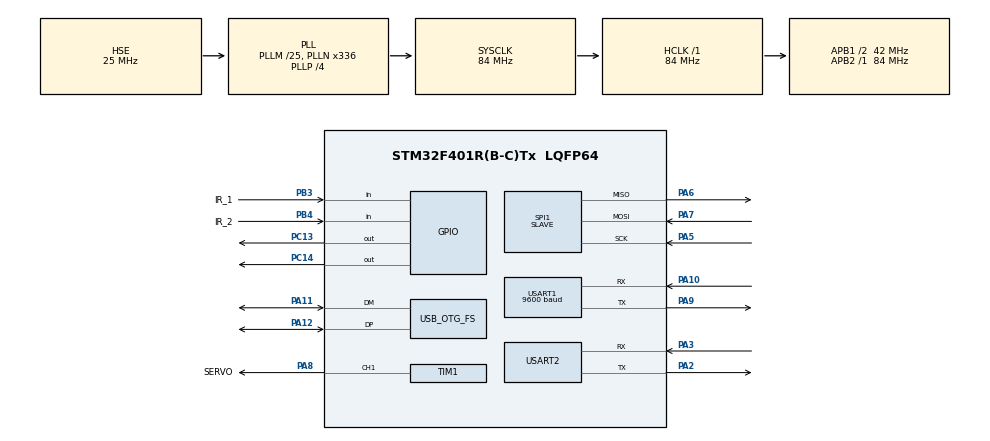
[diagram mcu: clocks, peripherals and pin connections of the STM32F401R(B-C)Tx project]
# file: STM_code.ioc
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FREERTOS.BinarySemaphores01=SPI_DATA_REC,Dynamic,NULL,Available;UART_DATA_TR,Dynamic,NULL,Available;USB_DATA,Dynamic,NULL,Available
FREERTOS.Queues01=SPI_DATA,10,uint8_t,0,Dynamic,NULL,NULL
FREERTOS.Tasks01=defaultTask,24,128,StartDefaultTask,Default,NULL,Dynamic,NULL,NULL;myTask02,9,128,servo_control,Default,NULL,Dynamic,NULL,NULL;myTask03,22,128,handle_transmit,Default,NULL,Dynamic,NULL,NULL;myTask04,11,128,handle_USB_data,Default,NULL,Dynamic,NULL,NULL
FREERTOS.configUSE_NEWLIB_REENTRANT=1
Mcu.Family=STM32F4
Mcu.Name=STM32F401R(B-C)Tx
Mcu.Package=LQFP64
NVIC.OTG_FS_IRQn=true\:5\:0\:false\:false\:true\:true\:false\:true\:true
NVIC.PriorityGroup=NVIC_PRIORITYGROUP_4
NVIC.SPI1_IRQn=true\:5\:0\:false\:false\:true\:true\:true\:true\:true
NVIC.TIM1_CC_IRQn=true\:5\:0\:false\:false\:true\:true\:true\:true\:true
NVIC.TIM2_IRQn=true\:15\:0\:false\:false\:true\:false\:false\:true\:true
NVIC.TimeBase=TIM2_IRQn
NVIC.TimeBaseIP=TIM2
NVIC.USART1_IRQn=true\:5\:0\:false\:false\:true\:true\:true\:true\:true
NVIC.USART2_IRQn=true\:5\:0\:false\:false\:true\:true\:true\:true\:true
PA10.Mode=Asynchronous
PA10.Signal=USART1_RX
PA11.Mode=Device_Only
PA11.Signal=USB_OTG_FS_DM
PA12.Mode=Device_Only
PA12.Signal=USB_OTG_FS_DP
PA2.Mode=Asynchronous
PA2.Signal=USART2_TX
PA3.Mode=Asynchronous
PA3.Signal=USART2_RX
PA5.Mode=Full_Duplex_Slave
PA5.Signal=SPI1_SCK
PA6.Mode=Full_Duplex_Slave
PA6.Signal=SPI1_MISO
PA7.Mode=Full_Duplex_Slave
PA7.Signal=SPI1_MOSI
PA8.GPIO_Label=SERVO
PA8.Signal=S_TIM1_CH1
PA9.Mode=Asynchronous
PA9.Signal=USART1_TX
PB3.GPIO_Label=IR_1
PB3.Signal=GPIO_Input
PB4.GPIO_Label=IR_2
PB4.Signal=GPIO_Input
PC13-ANTI_TAMP.Signal=GPIO_Output
PC14-OSC32_IN.Signal=GPIO_Output
PH0\ -\ OSC_IN.Mode=HSE-External-Oscillator
PH0\ -\ OSC_IN.Signal=RCC_OSC_IN
PH1\ -\ OSC_OUT.Mode=HSE-External-Oscillator
PH1\ -\ OSC_OUT.Signal=RCC_OSC_OUT
ProjectManager.HeapSize=0x200
ProjectManager.StackSize=0x400
ProjectManager.TargetToolchain=STM32CubeIDE
RCC.48MHZClocksFreq_Value=48000000
RCC.AHBFreq_Value=84000000
RCC.APB1CLKDivider=RCC_HCLK_DIV2
RCC.APB1Freq_Value=42000000
RCC.APB1TimFreq_Value=84000000
RCC.APB2Freq_Value=84000000
RCC.APB2TimFreq_Value=84000000
RCC.CortexFreq_Value=84000000
RCC.HCLKFreq_Value=84000000
RCC.HSE_VALUE=25000000
RCC.HSI_VALUE=16000000
RCC.LSE_VALUE=32768
RCC.PLLM=25
RCC.PLLN=336
RCC.PLLP=RCC_PLLP_DIV4
RCC.PLLQ=7
RCC.SYSCLKFreq_VALUE=84000000
RCC.SYSCLKSource=RCC_SYSCLKSOURCE_PLLCLK
RCC.VCOOutputFreq_Value=336000000
SH.S_TIM1_CH1.0=TIM1_CH1,PWM Generation1 CH1
SPI1.Direction=SPI_DIRECTION_2LINES
SPI1.Mode=SPI_MODE_SLAVE
SPI1.VirtualType=VM_SLAVE
TIM1.Channel-PWM\ Generation1\ CH1=TIM_CHANNEL_1
TIM1.Period=2000-1
TIM1.Prescaler=840-1
USART1.BaudRate=9600
USART1.VirtualMode=VM_ASYNC
USART2.VirtualMode=VM_ASYNC
USB_DEVICE.CLASS_NAME_FS=CDC
USB_DEVICE.VirtualMode=Cdc
USB_DEVICE.VirtualModeFS=Cdc_FS
USB_OTG_FS.VirtualMode=Device_Only
VP_FREERTOS_VS_CMSIS_V2.Mode=CMSIS_V2
VP_SYS_VS_tim2.Mode=TIM2
VP_USB_DEVICE_VS_USB_DEVICE_CDC_FS.Mode=CDC_FS
board=custom

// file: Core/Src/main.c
/* USER CODE BEGIN Header */
/**
  ******************************************************************************
  * @file           : main.c
  * @brief          : Main program body
  ******************************************************************************
  * @attention
  *
  * Copyright (c) 2025 STMicroelectronics.
  * All rights reserved.
  *
  * This software is licensed under terms that can be found in the LICENSE file
  * in the root directory of this software component.
  * If no LICENSE file comes with this software, it is provided AS-IS.
  *
  ******************************************************************************
  */
/* USER CODE END Header */
#include "main.h"
#include "cmsis_os.h"
#include "spi.h"
#include "tim.h"
#include "usart.h"
#include "usb_device.h"
#include "gpio.h"

/* USER CODE BEGIN Includes */
//#include "servo_cfg.h"
/* USER CODE END Includes */

/* USER CODE BEGIN PD */
#define SPI_DATA_SIZE   1
#define UART_DATA_SIZE  1
/* USER CODE END PD */

/* USER CODE BEGIN PV */

uint8_t receive_uart2;
uint8_t SPI_receive ;

uint8_t USB_data;

/* USER CODE END PV */

void SystemClock_Config(void);
void MX_FREERTOS_Init(void);

int main(void)
{

  /* MCU Configuration--------------------------------------------------------*/

  /* Reset of all peripherals, Initializes the Flash interface and the Systick. */
  HAL_Init();

  /* Configure the system clock */
  SystemClock_Config();

  /* Initialize all configured peripherals */
  MX_GPIO_Init();
  MX_SPI1_Init();
  MX_TIM1_Init();
  MX_USART1_UART_Init();
  MX_USART2_UART_Init();
  /* USER CODE BEGIN 2 */

  HAL_SPI_Receive_IT(&hspi1, &SPI_receive, SPI_DATA_SIZE);
  HAL_UART_Receive_IT(&huart2,&receive_uart2,UART_DATA_SIZE);

  /* USER CODE END 2 */

  /* Init scheduler */
  osKernelInitialize();

  /* Call init function for freertos objects (in cmsis_os2.c) */
  MX_FREERTOS_Init();

  /* Start scheduler */
  osKernelStart();

  /* We should never get here as control is now taken by the scheduler */

  /* Infinite loop */
  while (1)
  {

  }
}

void SystemClock_Config(void)
{
  RCC_OscInitTypeDef RCC_OscInitStruct = {0};
  RCC_ClkInitTypeDef RCC_ClkInitStruct = {0};

  /** Configure the main internal regulator output voltage
  */
  __HAL_RCC_PWR_CLK_ENABLE();
  __HAL_PWR_VOLTAGESCALING_CONFIG(PWR_REGULATOR_VOLTAGE_SCALE2);

  /** Initializes the RCC Oscillators according to the specified parameters
  * in the RCC_OscInitTypeDef structure.
  */
  RCC_OscInitStruct.OscillatorType = RCC_OSCILLATORTYPE_HSE;
  RCC_OscInitStruct.HSEState = RCC_HSE_ON;
  RCC_OscInitStruct.PLL.PLLState = RCC_PLL_ON;
  RCC_OscInitStruct.PLL.PLLSource = RCC_PLLSOURCE_HSE;
  RCC_OscInitStruct.PLL.PLLM = 25;
  RCC_OscInitStruct.PLL.PLLN = 336;
  RCC_OscInitStruct.PLL.PLLP = RCC_PLLP_DIV4;
  RCC_OscInitStruct.PLL.PLLQ = 7;
  if (HAL_RCC_OscConfig(&RCC_OscInitStruct) != HAL_OK)
  {
    Error_Handler();
  }

  /** Initializes the CPU, AHB and APB buses clocks
  */
  RCC_ClkInitStruct.ClockType = RCC_CLOCKTYPE_HCLK|RCC_CLOCKTYPE_SYSCLK
                              |RCC_CLOCKTYPE_PCLK1|RCC_CLOCKTYPE_PCLK2;
  RCC_ClkInitStruct.SYSCLKSource = RCC_SYSCLKSOURCE_PLLCLK;
  RCC_ClkInitStruct.AHBCLKDivider = RCC_SYSCLK_DIV1;
  RCC_ClkInitStruct.APB1CLKDivider = RCC_HCLK_DIV2;
  RCC_ClkInitStruct.APB2CLKDivider = RCC_HCLK_DIV1;

  if (HAL_RCC_ClockConfig(&RCC_ClkInitStruct, FLASH_LATENCY_2) != HAL_OK)
  {
    Error_Handler();
  }
}

void HAL_TIM_PeriodElapsedCallback(TIM_HandleTypeDef *htim)
{
  if (htim->Instance == TIM2) {
    HAL_IncTick();
  }
}

void Error_Handler(void)
{
  __disable_irq();
  while (1)
  {
  }
}

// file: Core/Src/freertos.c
/* USER CODE BEGIN Header */
/**
  ******************************************************************************
  * File Name          : freertos.c
  * Description        : Code for freertos applications
  ******************************************************************************
  * @attention
  *
  * Copyright (c) 2025 STMicroelectronics.
  * All rights reserved.
  *
  * This software is licensed under terms that can be found in the LICENSE file
  * in the root directory of this software component.
  * If no LICENSE file comes with this software, it is provided AS-IS.
  *
  ******************************************************************************
  */
/* USER CODE END Header */

#include "FreeRTOS.h"
#include "task.h"
#include "main.h"
#include "cmsis_os.h"

/* USER CODE BEGIN Includes */
#include "usart.h"
//#include "servo_cfg.h"
#include "spi.h"
#include "queue.h"
/* USER CODE END Includes */

/* USER CODE BEGIN PD */
#define SPI_DATA_SIZE   1
#define UART_DATA_SIZE  1
/* USER CODE END PD */

/* USER CODE BEGIN Variables */
extern uint8_t receive_uart2;
extern uint8_t SPI_receive ;
extern uint8_t USB_data;
uint8_t data_send_uart1;

uint8_t SPI_QUEUE_GET;
uint8_t previous_state_usb;
uint8_t previous_state_stop_condution;

uint8_t previous_state_uart1;

uint8_t previous_state_spi;

/* USER CODE END Variables */
/* Definitions for defaultTask */
osThreadId_t defaultTaskHandle;
const osThreadAttr_t defaultTask_attributes = {
  .name = "defaultTask",
  .stack_size = 128 * 4,
  .priority = (osPriority_t) osPriorityNormal,
};
/* Definitions for myTask02 */
osThreadId_t myTask02Handle;
const osThreadAttr_t myTask02_attributes = {
  .name = "myTask02",
  .stack_size = 128 * 4,
  .priority = (osPriority_t) osPriorityLow1,
};
/* Definitions for myTask03 */
osThreadId_t myTask03Handle;
const osThreadAttr_t myTask03_attributes = {
  .name = "myTask03",
  .stack_size = 128 * 4,
  .priority = (osPriority_t) osPriorityBelowNormal6,
};
/* Definitions for myTask04 */
osThreadId_t myTask04Handle;
const osThreadAttr_t myTask04_attributes = {
  .name = "myTask04",
  .stack_size = 128 * 4,
  .priority = (osPriority_t) osPriorityLow3,
};
/* Definitions for SPI_DATA */
osMessageQueueId_t SPI_DATAHandle;
const osMessageQueueAttr_t SPI_DATA_attributes = {
  .name = "SPI_DATA"
};
/* Definitions for SPI_DATA_REC */
osSemaphoreId_t SPI_DATA_RECHandle;
const osSemaphoreAttr_t SPI_DATA_REC_attributes = {
  .name = "SPI_DATA_REC"
};
/* Definitions for UART_DATA_TR */
osSemaphoreId_t UART_DATA_TRHandle;
const osSemaphoreAttr_t UART_DATA_TR_attributes = {
  .name = "UART_DATA_TR"
};
/* Definitions for USB_DATA */
osSemaphoreId_t USB_DATAHandle;
const osSemaphoreAttr_t USB_DATA_attributes = {
  .name = "USB_DATA"
};

void StartDefaultTask(void *argument);
void servo_control(void *argument);
void handle_transmit(void *argument);
void handle_USB_data(void *argument);

extern void MX_USB_DEVICE_Init(void);
void MX_FREERTOS_Init(void); /* (MISRA C 2004 rule 8.1) */

void MX_FREERTOS_Init(void) {

  /* Create the semaphores(s) */
  /* creation of SPI_DATA_REC */
  SPI_DATA_RECHandle = osSemaphoreNew(1, 1, &SPI_DATA_REC_attributes);

  /* creation of UART_DATA_TR */
  UART_DATA_TRHandle = osSemaphoreNew(1, 1, &UART_DATA_TR_attributes);

  /* creation of USB_DATA */
  USB_DATAHandle = osSemaphoreNew(1, 1, &USB_DATA_attributes);

  /* Create the queue(s) */
  /* creation of SPI_DATA */
  SPI_DATAHandle = osMessageQueueNew (10, sizeof(uint8_t), &SPI_DATA_attributes);

  /* Create the thread(s) */
  /* creation of defaultTask */
  defaultTaskHandle = osThreadNew(StartDefaultTask, NULL, &defaultTask_attributes);

  /* creation of myTask02 */
  myTask02Handle = osThreadNew(servo_control, NULL, &myTask02_attributes);

  /* creation of myTask03 */
  myTask03Handle = osThreadNew(handle_transmit, NULL, &myTask03_attributes);

  /* creation of myTask04 */
  myTask04Handle = osThreadNew(handle_USB_data, NULL, &myTask04_attributes);

}

void StartDefaultTask(void *argument)
{
  /* init code for USB_DEVICE */
  MX_USB_DEVICE_Init();
  for(;;)
  {
    osDelay(1);
  }
}

void servo_control(void *argument)
{
  /* USER CODE BEGIN servo_control */
	uint8_t ir_sensor_1 ;
	uint8_t ir_sensor_2 ;
  /* Infinite loop */
  for(;;)
  {
	  ir_sensor_1 = HAL_GPIO_ReadPin(GPIOA, IR_1_Pin);
	  ir_sensor_2 = HAL_GPIO_ReadPin(GPIOA, IR_2_Pin);

  	  if((ir_sensor_1 == GPIO_PIN_RESET) || (ir_sensor_2 == GPIO_PIN_RESET)){
  		  //servo_Motor_Start_angle_90(&servo);
  	  }else{
  		  //servo_Motor_Start_angle_N90(&servo);
  	  }
      osDelay(20);
  }
  /* USER CODE END servo_control */
}

void handle_transmit(void *argument)
{
  /* USER CODE BEGIN handle_transmit */
	uint8_t stop_condution = 'S';
  /* Infinite loop */
  for(;;)
  {
	  osSemaphoreAcquire(USB_DATAHandle, 100);
	  if(USB_data == 'R'){
		  if(previous_state_stop_condution != stop_condution){
			  HAL_UART_Transmit(&huart1, &stop_condution, UART_DATA_SIZE, 100);
			  previous_state_stop_condution = stop_condution;
		  }
	  }else{
		  osSemaphoreAcquire(SPI_DATA_RECHandle, 100);
		  osMessageQueueGet(SPI_DATAHandle,(void *)&SPI_QUEUE_GET,NULL,100);
		  osSemaphoreRelease(SPI_DATAHandle);
		  previous_state_stop_condution = SPI_QUEUE_GET;
		  if(previous_state_spi != SPI_QUEUE_GET){
			  previous_state_spi = SPI_QUEUE_GET;
			  HAL_UART_Transmit(&huart1, &SPI_QUEUE_GET, SPI_QUEUE_GET, 100);
		  }
	  }
	  osSemaphoreRelease(USB_DATAHandle);
    osDelay(20);
  }
  /* USER CODE END handle_transmit */
}

void handle_USB_data(void *argument)
{
  /* USER CODE BEGIN handle_USB_data */
  /* Infinite loop */
  for(;;)
  {
	  osSemaphoreAcquire(USB_DATAHandle, 100);
	  if(previous_state_usb != USB_data){
		  if(USB_data == 'R'){
			  data_send_uart1 = 'S';
		  }
		  previous_state_usb = USB_data;
	  }

	  osSemaphoreRelease(USB_DATAHandle);
    osDelay(5);
  }
  /* USER CODE END handle_USB_data */
}

/* USER CODE BEGIN Application */
void HAL_UART_RxCpltCallback(UART_HandleTypeDef *huart)
{
	if(receive_uart2 == 15){
		HAL_NVIC_SystemReset();
	}else{
		HAL_UART_Receive_IT(&huart2,&receive_uart2,UART_DATA_SIZE);
	}

}

void HAL_SPI_TxRxCpltCallback(SPI_HandleTypeDef *hspi){
	osSemaphoreAcquire(SPI_DATA_RECHandle, 100);
	HAL_SPI_Receive_IT(&hspi1, &SPI_receive, SPI_DATA_SIZE);
	osMessageQueuePut(SPI_DATAHandle,(void *)&SPI_receive, 0, 100);
	osSemaphoreRelease(SPI_DATAHandle);
	//xQueueSendToBackFromISR(SPI_DATAHandle,(void *)&SPI_receive,NULL);
}
/* USER CODE END Application */
